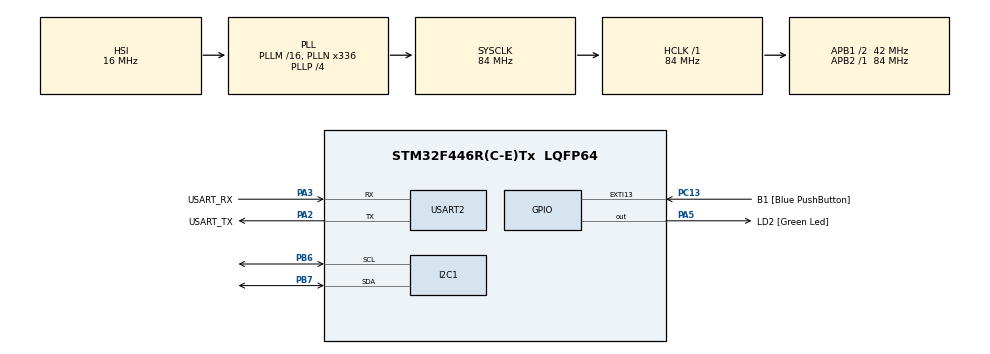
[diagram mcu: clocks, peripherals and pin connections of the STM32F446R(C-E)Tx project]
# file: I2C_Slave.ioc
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I2C1.OwnAddress=0x64
Mcu.Family=STM32F4
Mcu.Name=STM32F446R(C-E)Tx
Mcu.Package=LQFP64
NVIC.I2C1_ER_IRQn=true\:0\:0\:false\:false\:true\:true\:true\:true
NVIC.I2C1_EV_IRQn=true\:0\:0\:false\:false\:true\:true\:true\:true
NVIC.PriorityGroup=NVIC_PRIORITYGROUP_0
PA13.GPIO_Label=TMS
PA13.Mode=Serial_Wire
PA13.Signal=SYS_JTMS-SWDIO
PA14.GPIO_Label=TCK
PA14.Mode=Serial_Wire
PA14.Signal=SYS_JTCK-SWCLK
PA2.GPIO_Label=USART_TX
PA2.Mode=Asynchronous
PA2.Signal=USART2_TX
PA3.GPIO_Label=USART_RX
PA3.Mode=Asynchronous
PA3.Signal=USART2_RX
PA5.GPIO_Label=LD2 [Green Led]
PA5.Signal=GPIO_Output
PB3.GPIO_Label=SWO
PB3.Signal=SYS_JTDO-SWO
PB6.Mode=I2C
PB6.Signal=I2C1_SCL
PB7.Mode=I2C
PB7.Signal=I2C1_SDA
PC13.GPIO_Label=B1 [Blue PushButton]
PC13.GPIO_ModeDefaultEXTI=GPIO_MODE_IT_FALLING
PC13.Signal=GPXTI13
PC14-OSC32_IN.Mode=LSE-External-Oscillator
PC14-OSC32_IN.Signal=RCC_OSC32_IN
PC15-OSC32_OUT.Mode=LSE-External-Oscillator
PC15-OSC32_OUT.Signal=RCC_OSC32_OUT
PH0-OSC_IN.Mode=HSE-External-Oscillator
PH0-OSC_IN.Signal=RCC_OSC_IN
PH1-OSC_OUT.Mode=HSE-External-Oscillator
PH1-OSC_OUT.Signal=RCC_OSC_OUT
ProjectManager.HeapSize=0x200
ProjectManager.StackSize=0x400
ProjectManager.TargetToolchain=STM32CubeIDE
RCC.48MHZClocksFreq_Value=84000000
RCC.AHBFreq_Value=84000000
RCC.APB1CLKDivider=RCC_HCLK_DIV2
RCC.APB1Freq_Value=42000000
RCC.APB1TimFreq_Value=84000000
RCC.APB2Freq_Value=84000000
RCC.APB2TimFreq_Value=84000000
RCC.CortexFreq_Value=84000000
RCC.FLatency-AdvancedSettings=FLASH_LATENCY_2
RCC.HCLKFreq_Value=84000000
RCC.HSE_VALUE=8000000
RCC.HSI_VALUE=16000000
RCC.PLLN=336
RCC.PLLP=RCC_PLLP_DIV4
RCC.SYSCLKFreq_VALUE=84000000
RCC.SYSCLKSource=RCC_SYSCLKSOURCE_PLLCLK
RCC.USBFreq_Value=168000000
RCC.VCOOutputFreq_Value=336000000
USART2.VirtualMode=VM_ASYNC
board=NUCLEO-F446RE

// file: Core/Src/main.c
/* USER CODE BEGIN Header */
/**
  ******************************************************************************
  * @file           : main.c
  * @brief          : Main program body
  ******************************************************************************
  * @attention
  *
  * Copyright (c) 2025 STMicroelectronics.
  * All rights reserved.
  *
  * This software is licensed under terms that can be found in the LICENSE file
  * in the root directory of this software component.
  * If no LICENSE file comes with this software, it is provided AS-IS.
  *
  ******************************************************************************
  */
/* USER CODE END Header */
#include "main.h"

/* USER CODE BEGIN Includes */
#include <stdio.h>
/* USER CODE END Includes */

I2C_HandleTypeDef hi2c1;

UART_HandleTypeDef huart2;

/* USER CODE BEGIN PV */
uint8_t rx_buffer[1];
volatile uint8_t flag =0;

/* USER CODE END PV */

void SystemClock_Config(void);
static void MX_GPIO_Init(void);
static void MX_USART2_UART_Init(void);
static void MX_I2C1_Init(void);
/* USER CODE BEGIN PFP */
void HAL_I2C_SlaveRxCpltCallback(I2C_HandleTypeDef *hi2c);
void HAL_I2C_ErrorCallback(I2C_HandleTypeDef *hi2c);
int __io_putchar(int ch)
{
    HAL_UART_Transmit(&huart2, (uint8_t*)&ch, 1, HAL_MAX_DELAY);
    return ch;
}
/* USER CODE END PFP */

int main(void)
{

  /* MCU Configuration--------------------------------------------------------*/

  /* Reset of all peripherals, Initializes the Flash interface and the Systick. */
  HAL_Init();

  /* Configure the system clock */
  SystemClock_Config();

  /* Initialize all configured peripherals */
  MX_GPIO_Init();
  MX_USART2_UART_Init();
  MX_I2C1_Init();
  /* USER CODE BEGIN 2 */
  HAL_I2C_Slave_Receive_IT(&hi2c1, rx_buffer, sizeof(rx_buffer));
  printf("Slave ready. Waiting for data from master...\r\n");
  /* USER CODE END 2 */

  /* Infinite loop */
  /* USER CODE BEGIN WHILE */
  while (1)
  {

	  if (HAL_I2C_Slave_Receive(&hi2c1, rx_buffer, sizeof(rx_buffer), HAL_MAX_DELAY) == HAL_OK)
	      {
	          printf("Received: 0x%02X\r\n", rx_buffer[0]);

	          if (rx_buffer[0] == 0x80)
	              HAL_GPIO_WritePin(GPIOA, GPIO_PIN_5, GPIO_PIN_SET);
	          else if (rx_buffer[0] == 0x81)
	              HAL_GPIO_WritePin(GPIOA, GPIO_PIN_5, GPIO_PIN_RESET);
	      }
    /* USER CODE END WHILE */

  }
}

void SystemClock_Config(void)
{
  RCC_OscInitTypeDef RCC_OscInitStruct = {0};
  RCC_ClkInitTypeDef RCC_ClkInitStruct = {0};

  /** Configure the main internal regulator output voltage
  */
  __HAL_RCC_PWR_CLK_ENABLE();
  __HAL_PWR_VOLTAGESCALING_CONFIG(PWR_REGULATOR_VOLTAGE_SCALE3);

  /** Initializes the RCC Oscillators according to the specified parameters
  * in the RCC_OscInitTypeDef structure.
  */
  RCC_OscInitStruct.OscillatorType = RCC_OSCILLATORTYPE_HSI;
  RCC_OscInitStruct.HSIState = RCC_HSI_ON;
  RCC_OscInitStruct.HSICalibrationValue = RCC_HSICALIBRATION_DEFAULT;
  RCC_OscInitStruct.PLL.PLLState = RCC_PLL_ON;
  RCC_OscInitStruct.PLL.PLLSource = RCC_PLLSOURCE_HSI;
  RCC_OscInitStruct.PLL.PLLM = 16;
  RCC_OscInitStruct.PLL.PLLN = 336;
  RCC_OscInitStruct.PLL.PLLP = RCC_PLLP_DIV4;
  RCC_OscInitStruct.PLL.PLLQ = 2;
  RCC_OscInitStruct.PLL.PLLR = 2;
  if (HAL_RCC_OscConfig(&RCC_OscInitStruct) != HAL_OK)
  {
    Error_Handler();
  }

  /** Initializes the CPU, AHB and APB buses clocks
  */
  RCC_ClkInitStruct.ClockType = RCC_CLOCKTYPE_HCLK|RCC_CLOCKTYPE_SYSCLK
                              |RCC_CLOCKTYPE_PCLK1|RCC_CLOCKTYPE_PCLK2;
  RCC_ClkInitStruct.SYSCLKSource = RCC_SYSCLKSOURCE_PLLCLK;
  RCC_ClkInitStruct.AHBCLKDivider = RCC_SYSCLK_DIV1;
  RCC_ClkInitStruct.APB1CLKDivider = RCC_HCLK_DIV2;
  RCC_ClkInitStruct.APB2CLKDivider = RCC_HCLK_DIV1;

  if (HAL_RCC_ClockConfig(&RCC_ClkInitStruct, FLASH_LATENCY_2) != HAL_OK)
  {
    Error_Handler();
  }
}

static void MX_I2C1_Init(void)
{

  hi2c1.Instance = I2C1;
  hi2c1.Init.ClockSpeed = 100000;
  hi2c1.Init.DutyCycle = I2C_DUTYCYCLE_2;
  hi2c1.Init.OwnAddress1 = 200;
  hi2c1.Init.AddressingMode = I2C_ADDRESSINGMODE_7BIT;
  hi2c1.Init.DualAddressMode = I2C_DUALADDRESS_DISABLE;
  hi2c1.Init.OwnAddress2 = 0;
  hi2c1.Init.GeneralCallMode = I2C_GENERALCALL_DISABLE;
  hi2c1.Init.NoStretchMode = I2C_NOSTRETCH_DISABLE;
  if (HAL_I2C_Init(&hi2c1) != HAL_OK)
  {
    Error_Handler();
  }

}

static void MX_USART2_UART_Init(void)
{

  huart2.Instance = USART2;
  huart2.Init.BaudRate = 115200;
  huart2.Init.WordLength = UART_WORDLENGTH_8B;
  huart2.Init.StopBits = UART_STOPBITS_1;
  huart2.Init.Parity = UART_PARITY_NONE;
  huart2.Init.Mode = UART_MODE_TX_RX;
  huart2.Init.HwFlowCtl = UART_HWCONTROL_NONE;
  huart2.Init.OverSampling = UART_OVERSAMPLING_16;
  if (HAL_UART_Init(&huart2) != HAL_OK)
  {
    Error_Handler();
  }

}

static void MX_GPIO_Init(void)
{
  GPIO_InitTypeDef GPIO_InitStruct = {0};

  /* GPIO Ports Clock Enable */
  __HAL_RCC_GPIOC_CLK_ENABLE();
  __HAL_RCC_GPIOH_CLK_ENABLE();
  __HAL_RCC_GPIOA_CLK_ENABLE();
  __HAL_RCC_GPIOB_CLK_ENABLE();

  /*Configure GPIO pin Output Level */
  HAL_GPIO_WritePin(LD2_GPIO_Port, LD2_Pin, GPIO_PIN_RESET);

  /*Configure GPIO pin : B1_Pin */
  GPIO_InitStruct.Pin = B1_Pin;
  GPIO_InitStruct.Mode = GPIO_MODE_IT_FALLING;
  GPIO_InitStruct.Pull = GPIO_NOPULL;
  HAL_GPIO_Init(B1_GPIO_Port, &GPIO_InitStruct);

  /*Configure GPIO pin : LD2_Pin */
  GPIO_InitStruct.Pin = LD2_Pin;
  GPIO_InitStruct.Mode = GPIO_MODE_OUTPUT_PP;
  GPIO_InitStruct.Pull = GPIO_NOPULL;
  GPIO_InitStruct.Speed = GPIO_SPEED_FREQ_LOW;
  HAL_GPIO_Init(LD2_GPIO_Port, &GPIO_InitStruct);

}

/* USER CODE BEGIN 4 */
void HAL_I2C_SlaveRxCpltCallback(I2C_HandleTypeDef *hi2c)
{
	printf("Received: 0x%02X\r\n", rx_buffer[0]);
    HAL_I2C_Slave_Receive_IT(&hi2c1, rx_buffer, sizeof(rx_buffer));

    flag++;

}

void HAL_I2C_ErrorCallback(I2C_HandleTypeDef *hi2c)
{
    // Reinitialize I2C in case of an error
	printf("I2C Error occurred. Reinitializing...\r\n");

	    HAL_I2C_DeInit(&hi2c1);
	    HAL_Delay(10);
	    HAL_I2C_Init(&hi2c1);

	    if (HAL_I2C_Slave_Receive_IT(&hi2c1, rx_buffer, sizeof(rx_buffer)) != HAL_OK)
	    {
	        printf("Failed to re-init Slave Receive\r\n");
	    }

}

/* USER CODE END 4 */

void Error_Handler(void)
{
  __disable_irq();
  while (1)
  {
  }
}
